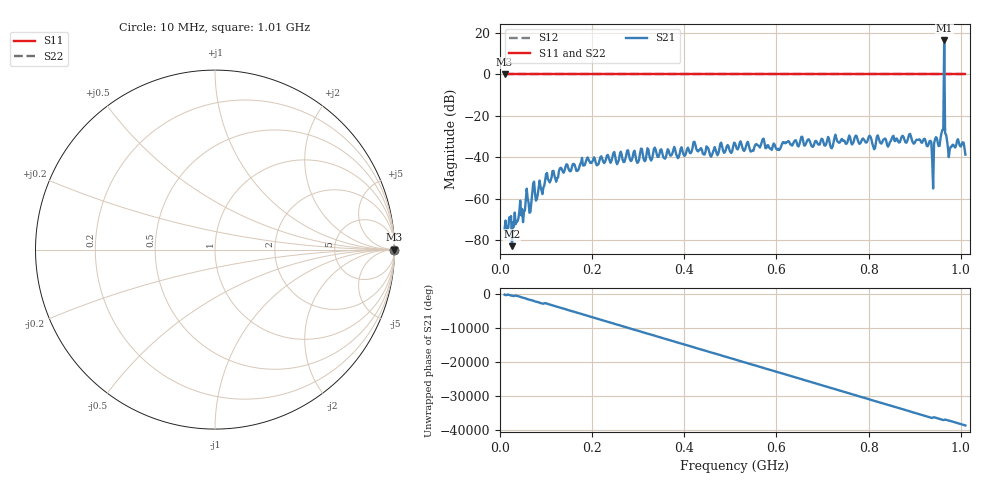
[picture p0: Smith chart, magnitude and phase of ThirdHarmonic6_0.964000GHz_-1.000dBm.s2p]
! 8/16/2025 7:12:16 AM
! C:\ANRITSUVNA\TEMP\TEMP.S2P
! CHANNEL.1
! TR.MEASUREMENT
! RAW.DATA
! RF.CORRECTION.OFF
! AVERAGING.OFF
! IF.BANDWIDTH: 5KHZ
! SWEEPTYPE:  FREQ.SWEEP(Linear)
! Reference Plane Port Info
! PORT:  PORT1  PORT2
! DISTANCE:  0  m  0  m
! TIME:  0  s  0  s
! PHASE.OFFSET:  0  deg.  0  deg.
! LOSS:  0  dB  0  dB
! REF.LOSS:  0  dB  0  dB
! REF.FREQ:  0  Hz  0  Hz
! Power Info
! POWER:  -20  dBm  -20  dBm
! EFF.POWER:  -20  dBm  -20  dBm
! SOURCE.ATTEN:  0  dB  0  dB
! TEST.ATTEN:  0  dB  0  dB
# GHZ S RI R 50.0
! FREQ.GHZ  S11RE  S11IM  S21RE  S21IM  S12RE  S12IM  S22RE  S22IM
!; PortSelection: Port_12
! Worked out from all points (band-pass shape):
!   501 points, 10 MHz to 1.01 GHz, reference 50 ohm
!   highest |S21| = 16.36 dB at 964 MHz (marker M1); lowest = -83.0 dB at 26 MHz (marker M2)
!   |S21| within 3 dB of the highest: 963.8607 MHz to 964.1338 MHz (273.1 kHz wide, 0.0283 % of centre)
!   lowest |S11| = 0.0 dB at 10 MHz (marker M3)
!   |S11| at or under -10 dB: nowhere
!   |S22| runs from 0.0 to 0.0 dB; largest |S21 - S12| = 6.9
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0.01  1 0  -0.000183 -2.26e-05  1 0  1 0
0.026  1 0  -5.28e-05 -4.73e-05  1 0  1 0
0.102  1 0  0.0038 0.00173  1 0  1 0
0.178  1 0  -0.00943 0.00191  1 0  1 0
0.344  1 0  0.00897 -0.0048  1 0  1 0
0.422  1 0  0.0124 0.0201  1 0  1 0
0.458  1 0  0.00624 0.00808  1 0  1 0
0.51  1 0  -0.0103 0.0193  1 0  1 0
0.678  1 0  -0.0177 -0.00171  1 0  1 0
0.772  1 0  0.033 -0.00362  1 0  1 0
0.844  1 0  0.0179 -0.00791  1 0  1 0
0.89  1 0  -0.00689 -0.0359  1 0  1 0
0.932  1 0  0.0228 0.00757  1 0  1 0
0.938  1 0  -0.00268 0.00777  1 0  1 0
0.942  1 0  0.0209 -0.00423  1 0  1 0
0.946  1 0  -0.0302 0.00349  1 0  1 0
0.958  1 0  0.0162 0.0341  1 0  1 0
0.96  1 0  0.0398 -0.0217  1 0  1 0
0.964  1 0  -1.593 -6.384  1 0  1 0
0.968  1 0  0.0247 -0.0251  1 0  1 0
0.97  1 0  -0.0183 -0.0184  1 0  1 0
1.01  1 0  0.0011 0.0114  1 0  1 0
